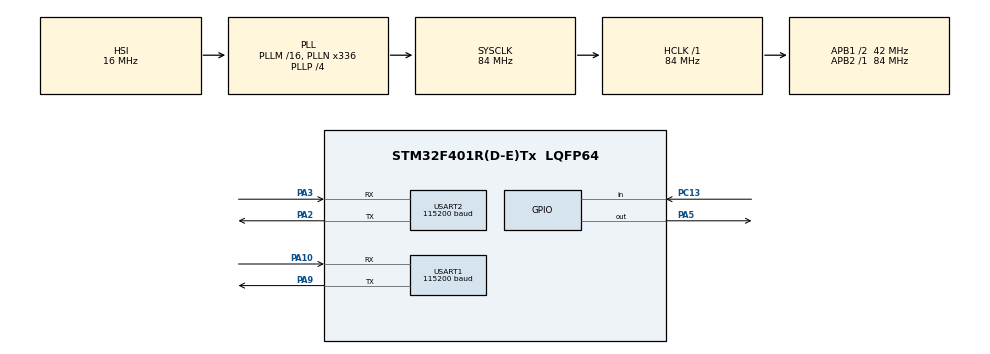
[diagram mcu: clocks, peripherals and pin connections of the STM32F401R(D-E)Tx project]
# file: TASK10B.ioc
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Mcu.Family=STM32F4
Mcu.Name=STM32F401R(D-E)Tx
Mcu.Package=LQFP64
NVIC.USART1_IRQn=true:1:0:false:false:true:true:true:true
NVIC.USART2_IRQn=true:2:0:false:false:true:true:true:true
PA2.Mode=Asynchronous
PA2.Signal=USART2_TX
PA3.Mode=Asynchronous
PA3.Signal=USART2_RX
PA5.Signal=GPIO_Output
PA9.Mode=Asynchronous
PA9.Signal=USART1_TX
PA10.Mode=Asynchronous
PA10.Signal=USART1_RX
PC13.Signal=GPIO_Input
PC13.GPIO_PuPd=GPIO_PULLUP
ProjectManager.TargetToolchain=MDK-ARM V5.32
RCC.AHBFreq_Value=84000000
RCC.APB1Freq_Value=42000000
RCC.APB2Freq_Value=84000000
RCC.CortexFreq_Value=84000000
RCC.HCLKFreq_Value=84000000
RCC.SYSCLKFreq_VALUE=84000000
RCC.SYSCLKSource=RCC_SYSCLKSOURCE_PLLCLK
USART1.BaudRate=115200
USART2.BaudRate=115200
board=custom

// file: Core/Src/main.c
/* USER CODE BEGIN Header */
/**
  ******************************************************************************
  * @file           : main.c
  * @brief          : CAT 10 - TASK 10B: Wi-Fi Modem Configuration
  * Target Device   : STM32F401RET6 (NUCLEO-F401RE, ARM Cortex-M4 @ 84 MHz)
  * Pin Map         : PA2  -> USART2 TX (PC ST-LINK @ 115200)
  *                   PA3  -> USART2 RX (PC ST-LINK @ 115200)
  *                   PA9  -> USART1 TX (Wemos ESP8266 RX @ 115200)
  *                   PA10 -> USART1 RX (Wemos ESP8266 TX @ 115200)
  ******************************************************************************
  */
/* USER CODE END Header */
#include "main.h"

/* USER CODE BEGIN Includes */
#include <string.h>
#include <stdbool.h>
/* USER CODE END Includes */

UART_HandleTypeDef huart1;
UART_HandleTypeDef huart2;

/* USER CODE BEGIN PV */
uint8_t esp_rx = 0;
uint8_t pc_rx = 0;
char at_cmd[] = "AT\r\n";
char mode_cmd[] = "AT+CWMODE=1\r\n";
char join_cmd[] = "AT+CWJAP=\"YOUR_WIFI_SSID\",\"YOUR_WIFI_PASSWORD\"\r\n";
char ip_cmd[] = "AT+CIFSR\r\n";
/* USER CODE END PV */

void SystemClock_Config(void);
static void MX_GPIO_Init(void);
static void MX_USART1_UART_Init(void);
static void MX_USART2_UART_Init(void);

int main(void)
{
  /* USER CODE BEGIN 1 */
  char *banner = "\r\n=== NUCLEO-F401RE ESP8266 Wi-Fi Station Join Sequence ===\r\n";
  /* USER CODE END 1 */

  /* MCU Configuration--------------------------------------------------------*/

  /* Reset of all peripherals, Initializes the Flash interface and the Systick. */
  HAL_Init();

  /* Configure the system clock */
  SystemClock_Config();

  /* Initialize all configured peripherals */
  MX_GPIO_Init();
  MX_USART1_UART_Init();
  MX_USART2_UART_Init();
  /* USER CODE BEGIN 2 */
  HAL_UART_Transmit(&huart2, (uint8_t *)banner, strlen(banner), HAL_MAX_DELAY);

  HAL_Delay(1000);
  /* 1. Reset / Ping ESP8266 */
  HAL_UART_Transmit(&huart1, (uint8_t *)at_cmd, strlen(at_cmd), HAL_MAX_DELAY);
  HAL_Delay(500);

  /* 2. Set Station Mode */
  HAL_UART_Transmit(&huart1, (uint8_t *)mode_cmd, strlen(mode_cmd), HAL_MAX_DELAY);
  HAL_Delay(500);

  /* 3. Connect to Wi-Fi Access Point */
  HAL_UART_Transmit(&huart1, (uint8_t *)join_cmd, strlen(join_cmd), HAL_MAX_DELAY);
  HAL_Delay(4000);

  /* 4. Query Allocated IP Address */
  HAL_UART_Transmit(&huart1, (uint8_t *)ip_cmd, strlen(ip_cmd), HAL_MAX_DELAY);
  /* USER CODE END 2 */

  /* Infinite loop */
  /* USER CODE BEGIN WHILE */
  while (1)
  {
    /* Forward incoming ESP8266 diagnostic data to PC */
    if (HAL_UART_Receive(&huart1, &esp_rx, 1, 5) == HAL_OK)
    {
      HAL_UART_Transmit(&huart2, &esp_rx, 1, 5);
    }
    if (HAL_UART_Receive(&huart2, &pc_rx, 1, 5) == HAL_OK)
    {
      HAL_UART_Transmit(&huart1, &pc_rx, 1, 5);
    }
    /* USER CODE END WHILE */

  }
}

void SystemClock_Config(void)
{
  RCC_OscInitTypeDef RCC_OscInitStruct = {0};
  RCC_ClkInitTypeDef RCC_ClkInitStruct = {0};

  __HAL_RCC_PWR_CLK_ENABLE();
  __HAL_PWR_VOLTAGESCALING_CONFIG(PWR_REGULATOR_VOLTAGE_SCALE2);

  RCC_OscInitStruct.OscillatorType = RCC_OSCILLATORTYPE_HSI;
  RCC_OscInitStruct.HSIState = RCC_HSI_ON;
  RCC_OscInitStruct.HSICalibrationValue = RCC_HSICALIBRATION_DEFAULT;
  RCC_OscInitStruct.PLL.PLLState = RCC_PLL_ON;
  RCC_OscInitStruct.PLL.PLLSource = RCC_PLLSOURCE_HSI;
  RCC_OscInitStruct.PLL.PLLM = 16;
  RCC_OscInitStruct.PLL.PLLN = 336;
  RCC_OscInitStruct.PLL.PLLP = RCC_PLLP_DIV4;
  RCC_OscInitStruct.PLL.PLLQ = 7;
  if (HAL_RCC_OscConfig(&RCC_OscInitStruct) != HAL_OK)
  {
    Error_Handler();
  }

  RCC_ClkInitStruct.ClockType = RCC_CLOCKTYPE_HCLK|RCC_CLOCKTYPE_SYSCLK
                              |RCC_CLOCKTYPE_PCLK1|RCC_CLOCKTYPE_PCLK2;
  RCC_ClkInitStruct.SYSCLKSource = RCC_SYSCLKSOURCE_PLLCLK;
  RCC_ClkInitStruct.AHBCLKDivider = RCC_SYSCLK_DIV1;
  RCC_ClkInitStruct.APB1CLKDivider = RCC_HCLK_DIV2;
  RCC_ClkInitStruct.APB2CLKDivider = RCC_HCLK_DIV1;

  if (HAL_RCC_ClockConfig(&RCC_ClkInitStruct, FLASH_LATENCY_2) != HAL_OK)
  {
    Error_Handler();
  }
}

static void MX_USART1_UART_Init(void)
{
  huart1.Instance = USART1;
  huart1.Init.BaudRate = 115200;
  huart1.Init.WordLength = UART_WORDLENGTH_8B;
  huart1.Init.StopBits = UART_STOPBITS_1;
  huart1.Init.Parity = UART_PARITY_NONE;
  huart1.Init.Mode = UART_MODE_TX_RX;
  huart1.Init.HwFlowCtl = UART_HWCONTROL_NONE;
  huart1.Init.OverSampling = UART_OVERSAMPLING_16;
  if (HAL_UART_Init(&huart1) != HAL_OK)
  {
    Error_Handler();
  }
}

static void MX_USART2_UART_Init(void)
{
  huart2.Instance = USART2;
  huart2.Init.BaudRate = 115200;
  huart2.Init.WordLength = UART_WORDLENGTH_8B;
  huart2.Init.StopBits = UART_STOPBITS_1;
  huart2.Init.Parity = UART_PARITY_NONE;
  huart2.Init.Mode = UART_MODE_TX_RX;
  huart2.Init.HwFlowCtl = UART_HWCONTROL_NONE;
  huart2.Init.OverSampling = UART_OVERSAMPLING_16;
  if (HAL_UART_Init(&huart2) != HAL_OK)
  {
    Error_Handler();
  }
}

static void MX_GPIO_Init(void)
{
  GPIO_InitTypeDef GPIO_InitStruct = {0};

  /* GPIO Ports Clock Enable */
  __HAL_RCC_GPIOC_CLK_ENABLE();
  __HAL_RCC_GPIOH_CLK_ENABLE();
  __HAL_RCC_GPIOA_CLK_ENABLE();

  /* Configure GPIO pin Output Level */
  HAL_GPIO_WritePin(GPIOA, GPIO_PIN_5, GPIO_PIN_RESET);

  /* Configure GPIO pin : PA5 (LD2 Green LED) */
  GPIO_InitStruct.Pin = GPIO_PIN_5;
  GPIO_InitStruct.Mode = GPIO_MODE_OUTPUT_PP;
  GPIO_InitStruct.Pull = GPIO_NOPULL;
  GPIO_InitStruct.Speed = GPIO_SPEED_FREQ_LOW;
  HAL_GPIO_Init(GPIOA, &GPIO_InitStruct);
}

void Error_Handler(void)
{
  __disable_irq();
  while (1)
  {
  }
}
